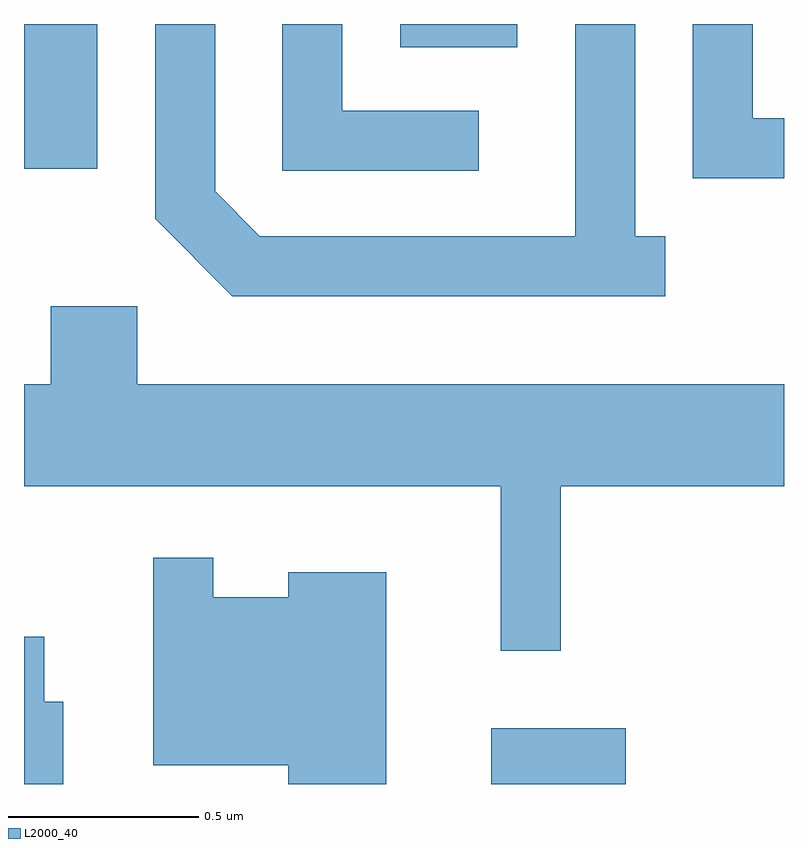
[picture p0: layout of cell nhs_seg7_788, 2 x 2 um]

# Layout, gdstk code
import gdstk
lib = gdstk.Library(unit=1e-6, precision=1e-09)
def R(c, l, rs):  # rectangles x0, y0, x1, y1
    for r in rs: c.add(gdstk.rectangle(r[:2], r[2:], *l))
def P(c, l, *ps):  # polygons
    for p in ps: c.add(gdstk.Polygon(p, *l))
L2000_40 = (2000, 40)

nhs_seg7_788 = lib.new_cell('nhs_seg7_788')
R(nhs_seg7_788, L2000_40, [(191.841,1771.252,192.194,1771.399), (190.611,1772.871,190.804,1773.252), (191.601,1773.191,191.909,1773.252)])
P(nhs_seg7_788, L2000_40, [(192.298,1772.694),(192.219,1772.694),(192.219,1773.252),(192.061,1773.252),(192.061,1772.694),(191.232,1772.694),(191.114,1772.812),(191.114,1773.252),(190.956,1773.252),(190.956,1772.739),(191.159,1772.536),(192.298,1772.536)],
  [(191.808,1773.024),(191.449,1773.024),(191.449,1773.252),(191.291,1773.252),(191.291,1772.866),(191.808,1772.866)],
  [(192.611,1773.004),(192.529,1773.004),(192.529,1773.252),(192.371,1773.252),(192.371,1772.846),(192.611,1772.846)],
  [(192.024,1772.036),(192.611,1772.036),(192.611,1772.304),(190.909,1772.304),(190.909,1772.509),(190.681,1772.509),(190.681,1772.304),(190.611,1772.304),(190.611,1772.036),(191.866,1772.036),(191.866,1771.603),(192.024,1771.603)],
  [(191.564,1771.809),(191.306,1771.809),(191.306,1771.744),(191.109,1771.744),(191.109,1771.848),(190.951,1771.848),(190.951,1771.301),(191.306,1771.301),(191.306,1771.252),(191.564,1771.252)],
  [(190.714,1771.469),(190.664,1771.469),(190.664,1771.639),(190.611,1771.639),(190.611,1771.252),(190.714,1771.252)])

lib.write_gds('nhs_seg7_788.gds')
